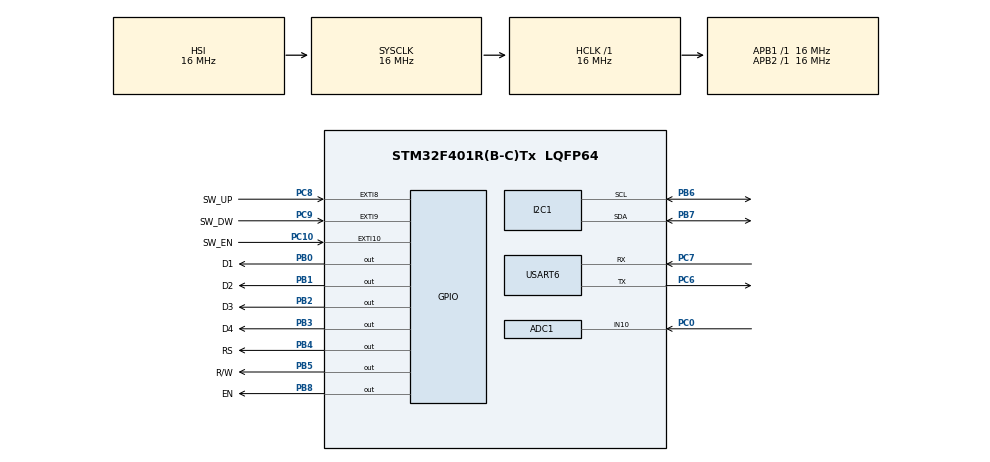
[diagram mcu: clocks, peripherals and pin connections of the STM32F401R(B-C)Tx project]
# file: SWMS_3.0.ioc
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ADC1.Channel-3\#ChannelRegularConversion=ADC_CHANNEL_10
ADC1.NbrOfConversionFlag=1
ADC1.Rank-3\#ChannelRegularConversion=1
ADC1.SamplingTime-3\#ChannelRegularConversion=ADC_SAMPLETIME_3CYCLES
ADC1.master=1
Mcu.Family=STM32F4
Mcu.Name=STM32F401R(B-C)Tx
Mcu.Package=LQFP64
NVIC.ADC_IRQn=true\:0\:0\:false\:false\:true\:true\:true\:true
NVIC.EXTI15_10_IRQn=true\:0\:0\:false\:false\:true\:true\:true\:true
NVIC.EXTI9_5_IRQn=true\:0\:0\:false\:false\:true\:true\:true\:true
NVIC.PriorityGroup=NVIC_PRIORITYGROUP_4
PA13.Mode=Serial_Wire
PA13.Signal=SYS_JTMS-SWDIO
PA14.Mode=Serial_Wire
PA14.Signal=SYS_JTCK-SWCLK
PB0.GPIO_Label=D1
PB0.Signal=GPIO_Output
PB1.GPIO_Label=D2
PB1.Signal=GPIO_Output
PB2.GPIO_Label=D3
PB2.Signal=GPIO_Output
PB3.GPIO_Label=D4
PB3.Signal=GPIO_Output
PB4.GPIO_Label=RS
PB4.Signal=GPIO_Output
PB5.GPIO_Label=R/W
PB5.Signal=GPIO_Output
PB6.Mode=I2C
PB6.Signal=I2C1_SCL
PB7.Mode=I2C
PB7.Signal=I2C1_SDA
PB8.GPIO_Label=EN
PB8.Signal=GPIO_Output
PC0.Signal=ADCx_IN10
PC10.GPIO_Label=SW_EN
PC10.GPIO_ModeDefaultEXTI=GPIO_MODE_IT_FALLING
PC10.GPIO_PuPd=GPIO_PULLUP
PC10.Signal=GPXTI10
PC14-OSC32_IN.Mode=LSE-External-Oscillator
PC14-OSC32_IN.Signal=RCC_OSC32_IN
PC15-OSC32_OUT.Mode=LSE-External-Oscillator
PC15-OSC32_OUT.Signal=RCC_OSC32_OUT
PC6.Mode=Asynchronous
PC6.Signal=USART6_TX
PC7.Mode=Asynchronous
PC7.Signal=USART6_RX
PC8.GPIO_Label=SW_UP
PC8.GPIO_ModeDefaultEXTI=GPIO_MODE_IT_FALLING
PC8.GPIO_PuPd=GPIO_PULLUP
PC8.Signal=GPXTI8
PC9.GPIO_Label=SW_DW
PC9.Signal=GPXTI9
PH0\ -\ OSC_IN.Mode=HSE-External-Oscillator
PH0\ -\ OSC_IN.Signal=RCC_OSC_IN
PH1\ -\ OSC_OUT.Mode=HSE-External-Oscillator
PH1\ -\ OSC_OUT.Signal=RCC_OSC_OUT
ProjectManager.HeapSize=0x200
ProjectManager.StackSize=0x400
ProjectManager.TargetToolchain=STM32CubeIDE
RCC.AHBFreq_Value=16000000
RCC.APB1Freq_Value=16000000
RCC.APB2Freq_Value=16000000
RCC.CortexFreq_Value=16000000
RCC.HSE_VALUE=25000000
RCC.HSI_VALUE=16000000
RCC.SYSCLKFreq_VALUE=16000000
RCC.VCOOutputFreq_Value=192000000
SH.ADCx_IN10.0=ADC1_IN10,IN10
USART6.VirtualMode=VM_ASYNC
board=custom

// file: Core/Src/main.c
/* USER CODE BEGIN Header */
/**
  ******************************************************************************
  * @file           : main.c
  * @brief          : Main program body
  ******************************************************************************
  * @attention
  *
  * Copyright (c) 2026 STMicroelectronics.
  * All rights reserved.
  *
  * This software is licensed under terms that can be found in the LICENSE file
  * in the root directory of this software component.
  * If no LICENSE file comes with this software, it is provided AS-IS.
  *
  ******************************************************************************
  */
/* USER CODE END Header */
#include "main.h"

/* USER CODE BEGIN Includes */
#include "lcdheader.h"
#include "adc.h"
#include "task.h"
#include "wifi.h"
/* USER CODE END Includes */

ADC_HandleTypeDef hadc1;

I2C_HandleTypeDef hi2c1;

UART_HandleTypeDef huart6;

/* USER CODE BEGIN PV */
extern  uint8_t t1_flag;
extern  uint8_t  t2_flag;
extern  uint8_t t3_flag;
extern  uint8_t t4_flag;
extern volatile uint16_t sw_dw_flag,sw_up_flag,sw_en_flag;

unsigned char T_Date[7]={0x50,0x26,0x72,0x4,0x25,0x06,0x26};

volatile uint32_t jiffie = 0;
/* USER CODE END PV */

void SystemClock_Config(void);
static void MX_GPIO_Init(void);
static void MX_I2C1_Init(void);
static void MX_USART6_UART_Init(void);
static void MX_ADC1_Init(void);

int main(void)
{

  /* MCU Configuration--------------------------------------------------------*/

  /* Reset of all peripherals, Initializes the Flash interface and the Systick. */
  HAL_Init();

  /* Configure the system clock */
  SystemClock_Config();

  /* Initialize all configured peripherals */
  MX_GPIO_Init();
  MX_I2C1_Init();
  MX_USART6_UART_Init();
  MX_ADC1_Init();
  /* USER CODE BEGIN 2 */
  KM_LCD_Init();
  //HAL_I2C_Mem_Write(&hi2c1, 0X68<<1, 0X00, 0X01,T_Date , 7, 100);
  wifi_found();
  wifi_connection();
  KM_LCD_Write_Cmd(0x01);
  /* USER CODE END 2 */

  /* Infinite loop */
  while (1)
  {

    /* USER CODE BEGIN 3 */
	    schedule();
	  	      if(t1_flag)
	          {
	          Task1_ReadRTC_WriteLCD_1Sec();
	  		  t1_flag = 0;
	           }
	  	       if(t2_flag)
	  			{
                Task2_ReadLM35_WriteLCD_5Sec();
	  			t2_flag = 0;
	  			}
	  	     if(t3_flag)
	  	     {
	  	     Task3_WiFi_Tx();
	  	     t3_flag = 0;
	  	    }
	  	   if(t4_flag)
	  	   {
	  	       t4_flag = 0;
	  	       Task4_Check_InternetStatus();
	  	   }

	  	 if(sw_en_flag)
	  	   {    KM_LCD_Write_Cmd(0x01);
	  	     sw_en_flag=0;

	  	     Task5_SWMS_Config();
	  	         }

  }
  /* USER CODE END 3 */
}

void SystemClock_Config(void)
{
  RCC_OscInitTypeDef RCC_OscInitStruct = {0};
  RCC_ClkInitTypeDef RCC_ClkInitStruct = {0};

  /** Configure the main internal regulator output voltage
  */
  __HAL_RCC_PWR_CLK_ENABLE();
  __HAL_PWR_VOLTAGESCALING_CONFIG(PWR_REGULATOR_VOLTAGE_SCALE2);

  /** Initializes the RCC Oscillators according to the specified parameters
  * in the RCC_OscInitTypeDef structure.
  */
  RCC_OscInitStruct.OscillatorType = RCC_OSCILLATORTYPE_HSI;
  RCC_OscInitStruct.HSIState = RCC_HSI_ON;
  RCC_OscInitStruct.HSICalibrationValue = RCC_HSICALIBRATION_DEFAULT;
  RCC_OscInitStruct.PLL.PLLState = RCC_PLL_NONE;
  if (HAL_RCC_OscConfig(&RCC_OscInitStruct) != HAL_OK)
  {
    Error_Handler();
  }

  /** Initializes the CPU, AHB and APB buses clocks
  */
  RCC_ClkInitStruct.ClockType = RCC_CLOCKTYPE_HCLK|RCC_CLOCKTYPE_SYSCLK
                              |RCC_CLOCKTYPE_PCLK1|RCC_CLOCKTYPE_PCLK2;
  RCC_ClkInitStruct.SYSCLKSource = RCC_SYSCLKSOURCE_HSI;
  RCC_ClkInitStruct.AHBCLKDivider = RCC_SYSCLK_DIV1;
  RCC_ClkInitStruct.APB1CLKDivider = RCC_HCLK_DIV1;
  RCC_ClkInitStruct.APB2CLKDivider = RCC_HCLK_DIV1;

  if (HAL_RCC_ClockConfig(&RCC_ClkInitStruct, FLASH_LATENCY_0) != HAL_OK)
  {
    Error_Handler();
  }
}

static void MX_ADC1_Init(void)
{

  ADC_ChannelConfTypeDef sConfig = {0};

  /** Configure the global features of the ADC (Clock, Resolution, Data Alignment and number of conversion)
  */
  hadc1.Instance = ADC1;
  hadc1.Init.ClockPrescaler = ADC_CLOCK_SYNC_PCLK_DIV2;
  hadc1.Init.Resolution = ADC_RESOLUTION_12B;
  hadc1.Init.ScanConvMode = DISABLE;
  hadc1.Init.ContinuousConvMode = DISABLE;
  hadc1.Init.DiscontinuousConvMode = DISABLE;
  hadc1.Init.ExternalTrigConvEdge = ADC_EXTERNALTRIGCONVEDGE_NONE;
  hadc1.Init.ExternalTrigConv = ADC_SOFTWARE_START;
  hadc1.Init.DataAlign = ADC_DATAALIGN_RIGHT;
  hadc1.Init.NbrOfConversion = 1;
  hadc1.Init.DMAContinuousRequests = DISABLE;
  hadc1.Init.EOCSelection = ADC_EOC_SINGLE_CONV;
  if (HAL_ADC_Init(&hadc1) != HAL_OK)
  {
    Error_Handler();
  }

  /** Configure for the selected ADC regular channel its corresponding rank in the sequencer and its sample time.
  */
  sConfig.Channel = ADC_CHANNEL_10;
  sConfig.Rank = 1;
  sConfig.SamplingTime = ADC_SAMPLETIME_3CYCLES;
  if (HAL_ADC_ConfigChannel(&hadc1, &sConfig) != HAL_OK)
  {
    Error_Handler();
  }

}

static void MX_I2C1_Init(void)
{

  hi2c1.Instance = I2C1;
  hi2c1.Init.ClockSpeed = 100000;
  hi2c1.Init.DutyCycle = I2C_DUTYCYCLE_2;
  hi2c1.Init.OwnAddress1 = 0;
  hi2c1.Init.AddressingMode = I2C_ADDRESSINGMODE_7BIT;
  hi2c1.Init.DualAddressMode = I2C_DUALADDRESS_DISABLE;
  hi2c1.Init.OwnAddress2 = 0;
  hi2c1.Init.GeneralCallMode = I2C_GENERALCALL_DISABLE;
  hi2c1.Init.NoStretchMode = I2C_NOSTRETCH_DISABLE;
  if (HAL_I2C_Init(&hi2c1) != HAL_OK)
  {
    Error_Handler();
  }

}

static void MX_USART6_UART_Init(void)
{

  huart6.Instance = USART6;
  huart6.Init.BaudRate = 115200;
  huart6.Init.WordLength = UART_WORDLENGTH_8B;
  huart6.Init.StopBits = UART_STOPBITS_1;
  huart6.Init.Parity = UART_PARITY_NONE;
  huart6.Init.Mode = UART_MODE_TX_RX;
  huart6.Init.HwFlowCtl = UART_HWCONTROL_NONE;
  huart6.Init.OverSampling = UART_OVERSAMPLING_16;
  if (HAL_UART_Init(&huart6) != HAL_OK)
  {
    Error_Handler();
  }

}

static void MX_GPIO_Init(void)
{
  GPIO_InitTypeDef GPIO_InitStruct = {0};

  /* GPIO Ports Clock Enable */
  __HAL_RCC_GPIOC_CLK_ENABLE();
  __HAL_RCC_GPIOH_CLK_ENABLE();
  __HAL_RCC_GPIOB_CLK_ENABLE();
  __HAL_RCC_GPIOA_CLK_ENABLE();

  /*Configure GPIO pin Output Level */
  HAL_GPIO_WritePin(GPIOB, D1_Pin|D2_Pin|D3_Pin|D4_Pin
                          |RS_Pin|R_W_Pin|EN_Pin, GPIO_PIN_RESET);

  /*Configure GPIO pins : D1_Pin D2_Pin D3_Pin D4_Pin
                           RS_Pin R_W_Pin EN_Pin */
  GPIO_InitStruct.Pin = D1_Pin|D2_Pin|D3_Pin|D4_Pin
                          |RS_Pin|R_W_Pin|EN_Pin;
  GPIO_InitStruct.Mode = GPIO_MODE_OUTPUT_PP;
  GPIO_InitStruct.Pull = GPIO_NOPULL;
  GPIO_InitStruct.Speed = GPIO_SPEED_FREQ_LOW;
  HAL_GPIO_Init(GPIOB, &GPIO_InitStruct);

  /*Configure GPIO pins : SW_UP_Pin SW_EN_Pin */
  GPIO_InitStruct.Pin = SW_UP_Pin|SW_EN_Pin;
  GPIO_InitStruct.Mode = GPIO_MODE_IT_FALLING;
  GPIO_InitStruct.Pull = GPIO_PULLUP;
  HAL_GPIO_Init(GPIOC, &GPIO_InitStruct);

  /*Configure GPIO pin : SW_DW_Pin */
  GPIO_InitStruct.Pin = SW_DW_Pin;
  GPIO_InitStruct.Mode = GPIO_MODE_IT_RISING;
  GPIO_InitStruct.Pull = GPIO_NOPULL;
  HAL_GPIO_Init(SW_DW_GPIO_Port, &GPIO_InitStruct);

  /* EXTI interrupt init*/
  HAL_NVIC_SetPriority(EXTI9_5_IRQn, 0, 0);
  HAL_NVIC_EnableIRQ(EXTI9_5_IRQn);

  HAL_NVIC_SetPriority(EXTI15_10_IRQn, 0, 0);
  HAL_NVIC_EnableIRQ(EXTI15_10_IRQn);

}

void Error_Handler(void)
{
  __disable_irq();
  while (1)
  {
  }
}
